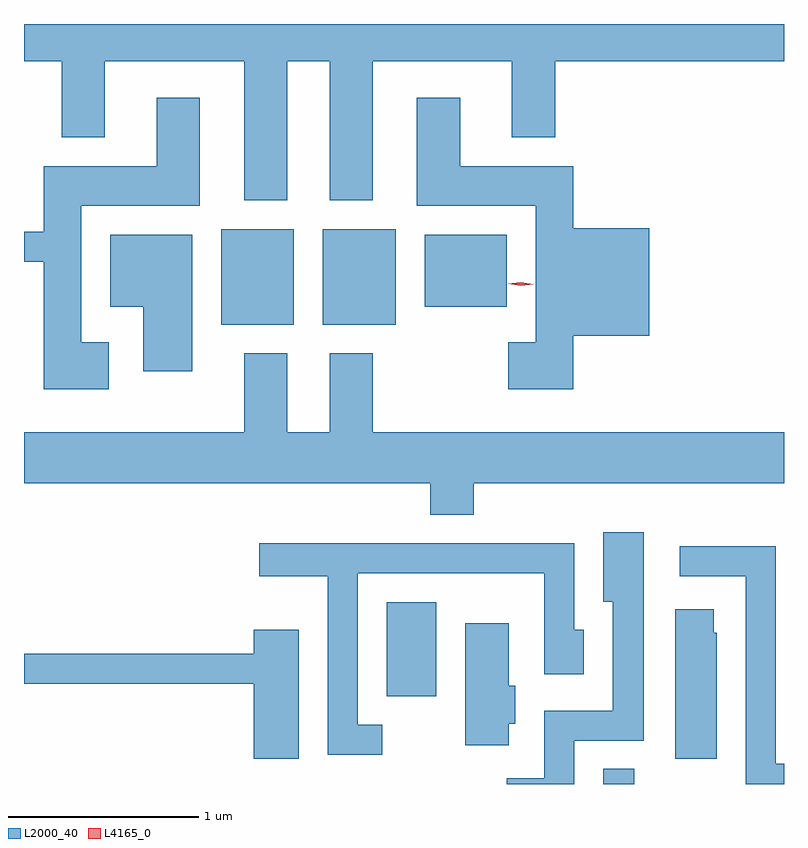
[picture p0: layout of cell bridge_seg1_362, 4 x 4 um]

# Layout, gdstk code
import gdstk
lib = gdstk.Library(unit=1e-6, precision=1e-09)
def R(c, l, rs):  # rectangles x0, y0, x1, y1
    for r in rs: c.add(gdstk.rectangle(r[:2], r[2:], *l))
def P(c, l, *ps):  # polygons
    for p in ps: c.add(gdstk.Polygon(p, *l))
L2000_40 = (2000, 40)
L4165_0 = (4165, 0)

bridge_seg1_362 = lib.new_cell('bridge_seg1_362')
R(bridge_seg1_362, L2000_40, [(943.811,866.913,943.974,866.993), (942.671,867.376,942.934,867.869), (941.801,869.331,942.184,869.834), (942.336,869.331,942.719,869.834), (942.871,869.426,943.304,869.804)])
P(bridge_seg1_362, L2000_40, [(942.149,870.716),(942.371,870.716),(942.371,869.986),(942.599,869.986),(942.599,870.716),(943.331,870.716),(943.331,870.316),(943.559,870.316),(943.559,870.716),(944.763,870.716),(944.763,870.913),(940.763,870.913),(940.763,870.716),(940.961,870.716),(940.961,870.316),(941.189,870.316),(941.189,870.716),(941.921,870.716),(941.921,869.986),(942.149,869.986)],
  [(943.654,869.271),(944.054,869.271),(944.054,869.839),(943.654,869.839),(943.654,870.164),(943.059,870.164),(943.059,870.524),(942.831,870.524),(942.831,869.956),(943.456,869.956),(943.456,869.239),(943.311,869.239),(943.311,868.991),(943.654,868.991)],
  [(941.209,869.239),(941.064,869.239),(941.064,869.956),(941.689,869.956),(941.689,870.524),(941.461,870.524),(941.461,870.164),(940.866,870.164),(940.866,869.819),(940.763,869.819),(940.763,869.661),(940.866,869.661),(940.866,868.991),(941.209,868.991)],
  [(941.649,869.804),(941.216,869.804),(941.216,869.426),(941.391,869.426),(941.391,869.086),(941.649,869.086)],
  [(943.129,868.496),(944.763,868.496),(944.763,868.764),(942.599,868.764),(942.599,869.179),(942.371,869.179),(942.371,868.764),(942.149,868.764),(942.149,869.179),(941.921,869.179),(941.921,868.764),(940.763,868.764),(940.763,868.496),(942.901,868.496),(942.901,868.331),(943.129,868.331)],
  [(943.659,867.141),(944.024,867.141),(944.024,868.239),(943.811,868.239),(943.811,867.871),(943.861,867.871),(943.861,867.299),(943.501,867.299),(943.501,866.944),(943.303,866.944),(943.303,866.913),(943.659,866.913)],
  [(942.648,867.224),(942.519,867.224),(942.519,868.021),(943.501,868.021),(943.501,867.491),(943.709,867.491),(943.709,867.724),(943.659,867.724),(943.659,868.179),(942.001,868.179),(942.001,868.006),(942.361,868.006),(942.361,867.066),(942.648,867.066)],
  [(944.763,867.019),(944.719,867.019),(944.719,868.164),(944.213,868.164),(944.213,868.006),(944.561,868.006),(944.561,866.913),(944.763,866.913)],
  [(944.409,867.71),(944.394,867.71),(944.394,867.834),(944.191,867.834),(944.191,867.046),(944.409,867.046)],
  [(943.314,867.231),(943.349,867.231),(943.349,867.429),(943.314,867.429),(943.314,867.759),(943.086,867.759),(943.086,867.116),(943.314,867.116)],
  [(942.209,867.724),(941.971,867.724),(941.971,867.599),(940.763,867.599),(940.763,867.441),(941.971,867.441),(941.971,867.046),(942.209,867.046)])
P(bridge_seg1_362, L4165_0, [(943.377,869.535),(943.311,869.545),(943.311,869.546),(943.311,869.546),(943.378,869.554),(943.444,869.544),(943.444,869.543),(943.444,869.543)])

lib.write_gds('bridge_seg1_362.gds')
